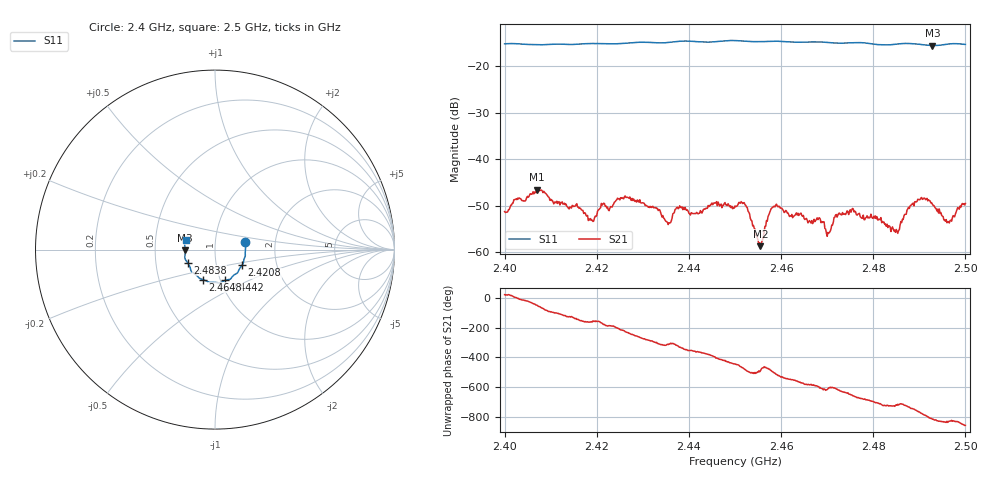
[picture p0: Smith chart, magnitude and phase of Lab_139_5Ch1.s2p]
# Hz S RI R 50
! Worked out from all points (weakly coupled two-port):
!   601 points, 2.4 GHz to 2.5 GHz, reference 50 ohm
!   highest |S21| = -46.59 dB at 2.407 GHz (marker M1); lowest = -58.7 dB at 2.4555 GHz (marker M2)
!   lowest |S11| = -15.6 dB at 2.4928 GHz (marker M3), VSWR 1.40, Z = 35.8 - j0.357 ohm
!   |S11| at or under -10 dB: start of sweep to end of sweep
!   S12 and S22 are empty: the file has one direction only
!   S11 on the Smith chart (normalised r, x): 2.4 GHz: 1.40, +0.12; 2.4208 GHz: 1.33, -0.24; 2.4442 GHz: 1.05, -0.37; 2.4648 GHz: 0.83, -0.29; 2.4838 GHz: 0.73, -0.11; 2.5 GHz: 0.72, +0.08
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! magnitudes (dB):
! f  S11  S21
! 2.4 GHz  -15.2  -51.3
! 2.407 GHz  -15.4  -46.6
! 2.4167 GHz  -15.2  -50.9
! 2.4188 GHz  -15.2  -53.1
! 2.4208 GHz  -15.2  -50.4
! 2.4333 GHz  -15.0  -51.0
! 2.4357 GHz  -14.9  -53.7
! 2.4442 GHz  -14.9  -50.0
! 2.45 GHz  -14.5  -50.1
! 2.4522 GHz  -14.7  -49.8
! 2.4555 GHz  -14.8  -58.7
! 2.4585 GHz  -14.7  -50.2
! 2.4648 GHz  -14.9  -52.1
! 2.4667 GHz  -14.8  -53.2
! 2.4703 GHz  -15.0  -55.9
! 2.4755 GHz  -15.0  -50.6
! 2.4833 GHz  -15.5  -54.3
! 2.4838 GHz  -15.4  -55.6
! 2.49 GHz  -15.3  -48.7
! 2.4928 GHz  -15.6  -49.7
! 2.4965 GHz  -15.3  -53.7
! 2.5 GHz  -15.4  -49.5
